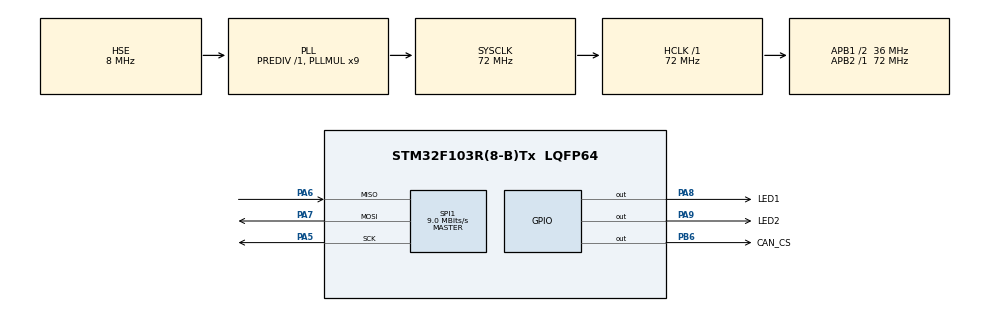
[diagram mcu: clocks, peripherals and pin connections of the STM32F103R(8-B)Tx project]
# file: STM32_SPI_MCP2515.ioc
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Mcu.Family=STM32F1
Mcu.Name=STM32F103R(8-B)Tx
Mcu.Package=LQFP64
NVIC.PriorityGroup=NVIC_PRIORITYGROUP_4
PA5.Mode=Full_Duplex_Master
PA5.Signal=SPI1_SCK
PA6.Mode=Full_Duplex_Master
PA6.Signal=SPI1_MISO
PA7.Mode=Full_Duplex_Master
PA7.Signal=SPI1_MOSI
PA8.GPIO_Label=LED1
PA8.GPIO_Speed=GPIO_SPEED_FREQ_MEDIUM
PA8.Signal=GPIO_Output
PA9.GPIO_Label=LED2
PA9.GPIO_Speed=GPIO_SPEED_FREQ_MEDIUM
PA9.Signal=GPIO_Output
PB6.GPIO_Label=CAN_CS
PB6.GPIO_Speed=GPIO_SPEED_FREQ_MEDIUM
PB6.PinState=GPIO_PIN_SET
PB6.Signal=GPIO_Output
PD0-OSC_IN.Mode=HSE-External-Oscillator
PD0-OSC_IN.Signal=RCC_OSC_IN
PD1-OSC_OUT.Mode=HSE-External-Oscillator
PD1-OSC_OUT.Signal=RCC_OSC_OUT
ProjectManager.HeapSize=0x200
ProjectManager.StackSize=0x400
ProjectManager.TargetToolchain=MDK-ARM V5
RCC.AHBFreq_Value=72000000
RCC.APB1CLKDivider=RCC_HCLK_DIV2
RCC.APB1Freq_Value=36000000
RCC.APB1TimFreq_Value=72000000
RCC.APB2Freq_Value=72000000
RCC.APB2TimFreq_Value=72000000
RCC.HCLKFreq_Value=72000000
RCC.PLLMUL=RCC_PLL_MUL9
RCC.PLLSourceVirtual=RCC_PLLSOURCE_HSE
RCC.SYSCLKFreq_VALUE=72000000
RCC.SYSCLKSource=RCC_SYSCLKSOURCE_PLLCLK
RCC.USBFreq_Value=72000000
SPI1.BaudRatePrescaler=SPI_BAUDRATEPRESCALER_8
SPI1.CalculateBaudRate=9.0 MBits/s
SPI1.Direction=SPI_DIRECTION_2LINES
SPI1.Mode=SPI_MODE_MASTER
SPI1.VirtualType=VM_MASTER
VP_SYS_VS_ND.Mode=No_Debug
board=NUCLEO-F103RB

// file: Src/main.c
/**
  ******************************************************************************
  * File Name          : main.c
  * Description        : Main program body
  ******************************************************************************
  ** This notice applies to any and all portions of this file
  * that are not between comment pairs USER CODE BEGIN and
  * USER CODE END. Other portions of this file, whether
  * inserted by the user or by software development tools
  * are owned by their respective copyright owners.
  *
  * COPYRIGHT(c) 2018 STMicroelectronics
  *
  * Redistribution and use in source and binary forms, with or without modification,
  * are permitted provided that the following conditions are met:
  *   1. Redistributions of source code must retain the above copyright notice,
  *      this list of conditions and the following disclaimer.
  *   2. Redistributions in binary form must reproduce the above copyright notice,
  *      this list of conditions and the following disclaimer in the documentation
  *      and/or other materials provided with the distribution.
  *   3. Neither the name of STMicroelectronics nor the names of its contributors
  *      may be used to endorse or promote products derived from this software
  *      without specific prior written permission.
  *
  * THIS SOFTWARE IS PROVIDED BY THE COPYRIGHT HOLDERS AND CONTRIBUTORS "AS IS"
  * AND ANY EXPRESS OR IMPLIED WARRANTIES, INCLUDING, BUT NOT LIMITED TO, THE
  * IMPLIED WARRANTIES OF MERCHANTABILITY AND FITNESS FOR A PARTICULAR PURPOSE ARE
  * DISCLAIMED. IN NO EVENT SHALL THE COPYRIGHT HOLDER OR CONTRIBUTORS BE LIABLE
  * FOR ANY DIRECT, INDIRECT, INCIDENTAL, SPECIAL, EXEMPLARY, OR CONSEQUENTIAL
  * DAMAGES (INCLUDING, BUT NOT LIMITED TO, PROCUREMENT OF SUBSTITUTE GOODS OR
  * SERVICES; LOSS OF USE, DATA, OR PROFITS; OR BUSINESS INTERRUPTION) HOWEVER
  * CAUSED AND ON ANY THEORY OF LIABILITY, WHETHER IN CONTRACT, STRICT LIABILITY,
  * OR TORT (INCLUDING NEGLIGENCE OR OTHERWISE) ARISING IN ANY WAY OUT OF THE USE
  * OF THIS SOFTWARE, EVEN IF ADVISED OF THE POSSIBILITY OF SUCH DAMAGE.
  *
  ******************************************************************************
  */

#include "main.h"
#include "stm32f1xx_hal.h"

/* USER CODE BEGIN Includes */
#include "CANSPI.h"

/* USER CODE END Includes */

SPI_HandleTypeDef hspi1;

/* USER CODE BEGIN PV */
/* Private variables ---------------------------------------------------------*/
uCAN_MSG txMessage;
uCAN_MSG rxMessage;
/* USER CODE END PV */

void SystemClock_Config(void);
static void MX_GPIO_Init(void);
static void MX_SPI1_Init(void);

/* USER CODE BEGIN PFP */
/* Private function prototypes -----------------------------------------------*/

/* USER CODE END PFP */

int main(void)
{

  /* MCU Configuration----------------------------------------------------------*/

  /* Reset of all peripherals, Initializes the Flash interface and the Systick. */
  HAL_Init();

  /* Configure the system clock */
  SystemClock_Config();

  /* Initialize all configured peripherals */
  MX_GPIO_Init();
  MX_SPI1_Init();

  /* USER CODE BEGIN 2 */
  CANSPI_Initialize();

  /* USER CODE END 2 */

  /* Infinite loop */
  while (1)
  {

  /* USER CODE BEGIN 3 */
    if(CANSPI_Receive(&rxMessage))
    {
      txMessage.frame.idType = rxMessage.frame.idType;
      txMessage.frame.id = rxMessage.frame.id;
      txMessage.frame.dlc = rxMessage.frame.dlc;
      txMessage.frame.data0++;
      txMessage.frame.data1 = rxMessage.frame.data1;
      txMessage.frame.data2 = rxMessage.frame.data2;
      txMessage.frame.data3 = rxMessage.frame.data3;
      txMessage.frame.data4 = rxMessage.frame.data4;
      txMessage.frame.data5 = rxMessage.frame.data5;
      txMessage.frame.data6 = rxMessage.frame.data6;
      txMessage.frame.data7 = rxMessage.frame.data7;
      CANSPI_Transmit(&txMessage);
    }

    txMessage.frame.idType = dSTANDARD_CAN_MSG_ID_2_0B;
    txMessage.frame.id = 0x0A;
    txMessage.frame.dlc = 8;
    txMessage.frame.data0 = 0;
    txMessage.frame.data1 = 1;
    txMessage.frame.data2 = 2;
    txMessage.frame.data3 = 3;
    txMessage.frame.data4 = 4;
    txMessage.frame.data5 = 5;
    txMessage.frame.data6 = 6;
    txMessage.frame.data7 = 7;
    CANSPI_Transmit(&txMessage);

    HAL_Delay(1000);

  }
  /* USER CODE END 3 */

}

/** System Clock Configuration
*/
void SystemClock_Config(void)
{

  RCC_OscInitTypeDef RCC_OscInitStruct;
  RCC_ClkInitTypeDef RCC_ClkInitStruct;

    /**Initializes the CPU, AHB and APB busses clocks
    */
  RCC_OscInitStruct.OscillatorType = RCC_OSCILLATORTYPE_HSE;
  RCC_OscInitStruct.HSEState = RCC_HSE_ON;
  RCC_OscInitStruct.HSEPredivValue = RCC_HSE_PREDIV_DIV1;
  RCC_OscInitStruct.HSIState = RCC_HSI_ON;
  RCC_OscInitStruct.PLL.PLLState = RCC_PLL_ON;
  RCC_OscInitStruct.PLL.PLLSource = RCC_PLLSOURCE_HSE;
  RCC_OscInitStruct.PLL.PLLMUL = RCC_PLL_MUL9;
  if (HAL_RCC_OscConfig(&RCC_OscInitStruct) != HAL_OK)
  {
    _Error_Handler(__FILE__, __LINE__);
  }

    /**Initializes the CPU, AHB and APB busses clocks
    */
  RCC_ClkInitStruct.ClockType = RCC_CLOCKTYPE_HCLK|RCC_CLOCKTYPE_SYSCLK
                              |RCC_CLOCKTYPE_PCLK1|RCC_CLOCKTYPE_PCLK2;
  RCC_ClkInitStruct.SYSCLKSource = RCC_SYSCLKSOURCE_PLLCLK;
  RCC_ClkInitStruct.AHBCLKDivider = RCC_SYSCLK_DIV1;
  RCC_ClkInitStruct.APB1CLKDivider = RCC_HCLK_DIV2;
  RCC_ClkInitStruct.APB2CLKDivider = RCC_HCLK_DIV1;

  if (HAL_RCC_ClockConfig(&RCC_ClkInitStruct, FLASH_LATENCY_2) != HAL_OK)
  {
    _Error_Handler(__FILE__, __LINE__);
  }

    /**Configure the Systick interrupt time
    */
  HAL_SYSTICK_Config(HAL_RCC_GetHCLKFreq()/1000);

    /**Configure the Systick
    */
  HAL_SYSTICK_CLKSourceConfig(SYSTICK_CLKSOURCE_HCLK);

  /* SysTick_IRQn interrupt configuration */
  HAL_NVIC_SetPriority(SysTick_IRQn, 0, 0);
}

/* SPI1 init function */
static void MX_SPI1_Init(void)
{

  /* SPI1 parameter configuration*/
  hspi1.Instance = SPI1;
  hspi1.Init.Mode = SPI_MODE_MASTER;
  hspi1.Init.Direction = SPI_DIRECTION_2LINES;
  hspi1.Init.DataSize = SPI_DATASIZE_8BIT;
  hspi1.Init.CLKPolarity = SPI_POLARITY_LOW;
  hspi1.Init.CLKPhase = SPI_PHASE_1EDGE;
  hspi1.Init.NSS = SPI_NSS_SOFT;
  hspi1.Init.BaudRatePrescaler = SPI_BAUDRATEPRESCALER_8;
  hspi1.Init.FirstBit = SPI_FIRSTBIT_MSB;
  hspi1.Init.TIMode = SPI_TIMODE_DISABLE;
  hspi1.Init.CRCCalculation = SPI_CRCCALCULATION_DISABLE;
  hspi1.Init.CRCPolynomial = 10;
  if (HAL_SPI_Init(&hspi1) != HAL_OK)
  {
    _Error_Handler(__FILE__, __LINE__);
  }

}

/** Configure pins as
        * Analog
        * Input
        * Output
        * EVENT_OUT
        * EXTI
*/
static void MX_GPIO_Init(void)
{

  GPIO_InitTypeDef GPIO_InitStruct;

  /* GPIO Ports Clock Enable */
  __HAL_RCC_GPIOD_CLK_ENABLE();
  __HAL_RCC_GPIOA_CLK_ENABLE();
  __HAL_RCC_GPIOB_CLK_ENABLE();

  /*Configure GPIO pin Output Level */
  HAL_GPIO_WritePin(GPIOA, LED1_Pin|LED2_Pin, GPIO_PIN_RESET);

  /*Configure GPIO pin Output Level */
  HAL_GPIO_WritePin(CAN_CS_GPIO_Port, CAN_CS_Pin, GPIO_PIN_SET);

  /*Configure GPIO pins : LED1_Pin LED2_Pin */
  GPIO_InitStruct.Pin = LED1_Pin|LED2_Pin;
  GPIO_InitStruct.Mode = GPIO_MODE_OUTPUT_PP;
  GPIO_InitStruct.Speed = GPIO_SPEED_FREQ_MEDIUM;
  HAL_GPIO_Init(GPIOA, &GPIO_InitStruct);

  /*Configure GPIO pin : CAN_CS_Pin */
  GPIO_InitStruct.Pin = CAN_CS_Pin;
  GPIO_InitStruct.Mode = GPIO_MODE_OUTPUT_PP;
  GPIO_InitStruct.Speed = GPIO_SPEED_FREQ_MEDIUM;
  HAL_GPIO_Init(CAN_CS_GPIO_Port, &GPIO_InitStruct);

}

void _Error_Handler(char * file, int line)
{
  while(1)
  {
  }
}

/************************ (C) COPYRIGHT STMicroelectronics *****END OF FILE****/
